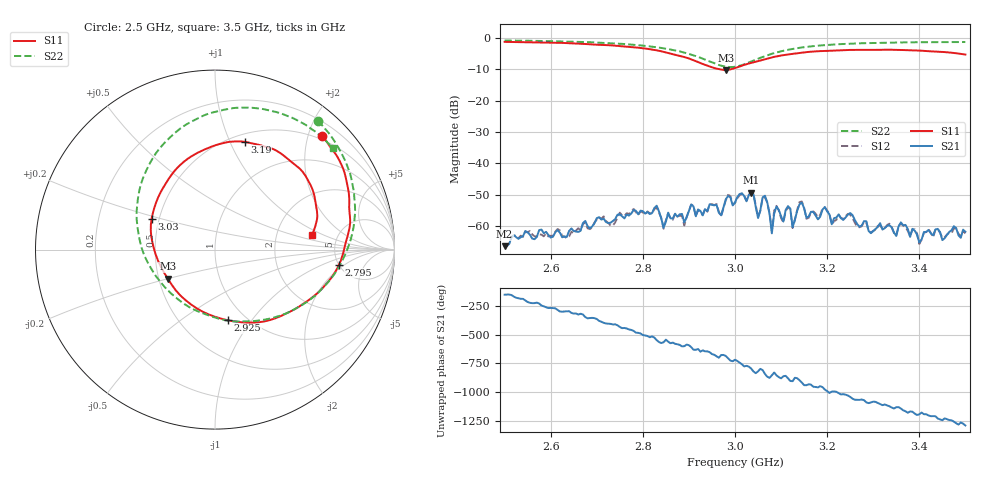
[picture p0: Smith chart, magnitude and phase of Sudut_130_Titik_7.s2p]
# Hz S RI R 50
! CMT, C1220, 16058040, 17.2.0/1
! Date: 15/08/2018 10:08:27
! Data: Format (Calibration Info)
! Freq  S11: Re/Im (F2)  S21: Re/Im (F2)  S12: Re/Im (F2)  S22: Re/Im (F2)
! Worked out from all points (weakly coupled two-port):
!   201 points, 2.5 GHz to 3.5 GHz, reference 50 ohm
!   highest |S21| = -49.32 dB at 3.035 GHz (marker M1); lowest = -66.4 dB at 2.5 GHz (marker M2)
!   lowest |S11| = -10.2 dB at 2.98 GHz (marker M3), VSWR 1.89, Z = 27.9 - j9.95 ohm
!   |S11| at or under -10 dB: 2.969 GHz to 2.99 GHz (20.8 MHz wide, 0.698 % of centre)
!   |S22| runs from -9.2 to -0.7 dB; largest |S21 - S12| = 0.00025
!   S11 on the Smith chart (normalised r, x): 2.5 GHz: 0.43, +2.25; 2.795 GHz: 5.03, -1.64; 2.925 GHz: 0.83, -0.77; 3.03 GHz: 0.45, +0.19; 3.19 GHz: 0.58, +1.13; 3.5 GHz: 3.22, +0.76
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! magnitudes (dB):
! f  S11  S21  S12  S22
! 2.5 GHz  -1.2  -66.4  -66.1  -0.7
! 2.67 GHz  -1.8  -59.0  -59.4  -1.2
! 2.795 GHz  -3.1  -55.1  -55.4  -2.3
! 2.835 GHz  -4.0  -55.3  -55.6  -3.0
! 2.845 GHz  -4.4  -60.5  -60.8  -3.3
! 2.925 GHz  -8.0  -55.2  -55.8  -6.3
! 2.98 GHz  -10.2  -51.4  -51.7  -9.1
! 3 GHz  -9.6  -52.5  -52.7  -9.1
! 3.03 GHz  -8.1  -50.1  -50.0  -7.8
! 3.035 GHz  -7.9  -49.3  -49.2  -7.5
! 3.05 GHz  -7.3  -57.4  -57.1  -6.6
! 3.065 GHz  -6.7  -50.3  -50.8  -5.7
! 3.08 GHz  -6.1  -62.3  -61.6  -5.0
! 3.09 GHz  -5.8  -53.8  -53.5  -4.6
! 3.12 GHz  -5.1  -54.4  -54.6  -3.6
! 3.125 GHz  -5.0  -60.4  -60.6  -3.5
! 3.14 GHz  -4.7  -53.0  -52.3  -3.1
! 3.17 GHz  -4.3  -55.5  -55.3  -2.6
! 3.19 GHz  -4.1  -54.7  -54.3  -2.3
! 3.335 GHz  -3.7  -59.7  -59.2  -1.4
! 3.4 GHz  -4.0  -65.2  -65.7  -1.3
! 3.5 GHz  -5.2  -61.8  -62.3  -1.2
